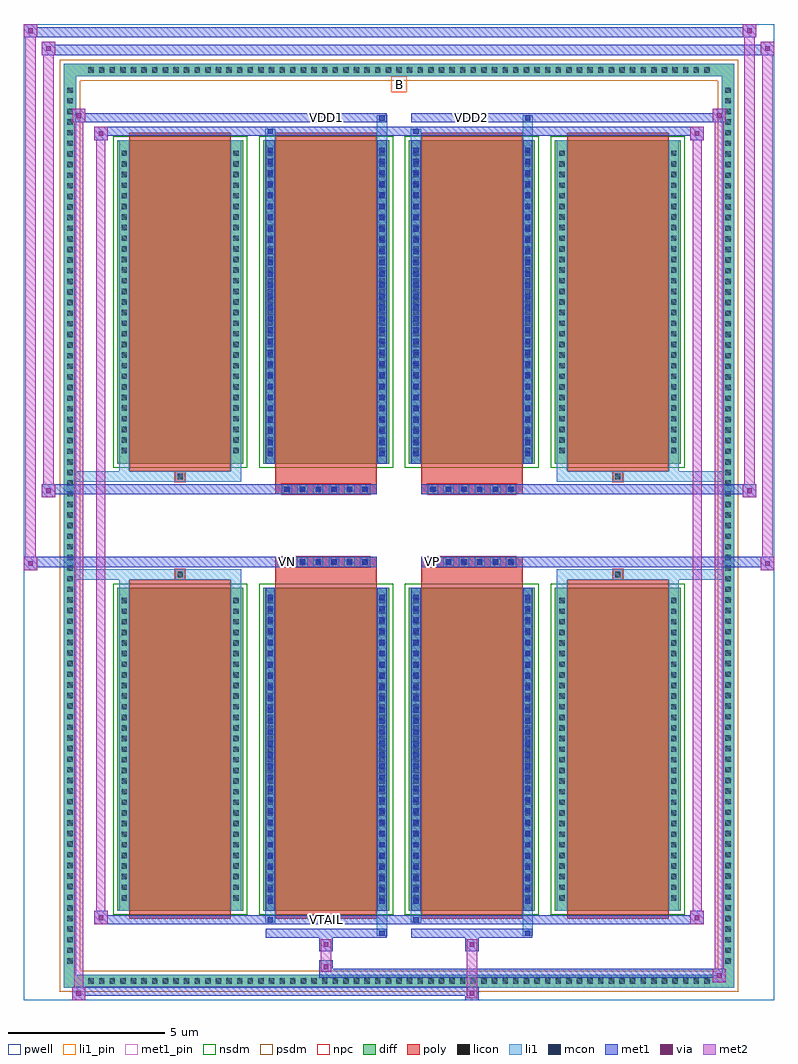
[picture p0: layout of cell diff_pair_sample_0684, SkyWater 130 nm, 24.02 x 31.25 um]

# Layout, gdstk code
import gdstk
lib = gdstk.Library(unit=1e-6, precision=5e-09)
def R(c, l, rs):  # rectangles x0, y0, x1, y1
    for r in rs: c.add(gdstk.rectangle(r[:2], r[2:], *l))
def A(c, l, x, y, w, h, nx, ny, dx, dy):  # array of equal rectangles
    R(c, l, [(x+i*dx, y+j*dy, x+i*dx+w, y+j*dy+h) for i in range(nx) for j in range(ny)])
def P(c, l, *ps):  # polygons
    for p in ps: c.add(gdstk.Polygon(p, *l))
pwell = (64, 44)
diff = (65, 20)
poly = (66, 20)
licon = (66, 44)
li1_pin = (67, 16)
li1 = (67, 20)
mcon = (67, 44)
met1_pin = (68, 16)
met1 = (68, 20)
via = (68, 44)
met2 = (69, 20)
nsdm = (93, 44)
psdm = (94, 20)
npc = (95, 20)

diff_pair_sample_0684 = lib.new_cell('diff_pair_sample_0684')
R(diff_pair_sample_0684, pwell, [(-12.01,-15.19,12.01,16.06), (-9.33,-13.38,-0.01,-0.8), (0.01,-13.38,9.33,-0.8), (-9.33,0.8,-0.01,13.38), (0.01,0.8,9.33,13.38)])
A(diff_pair_sample_0684, diff, -10.065, -14.79, 0.41, 0.41, 59, 2, 0.34, 29.17)
A(diff_pair_sample_0684, diff, -10.74, -14.145, 0.41, 0.41, 1, 83, 0, 0.34)
A(diff_pair_sample_0684, diff, 10.33, -14.145, 0.41, 0.41, 1, 83, 0, 0.34)
A(diff_pair_sample_0684, diff, -9.02, -12.335, 4.03, 10.35, 4, 2, 4.67, 14.32)
R(diff_pair_sample_0684, diff, [(-10.065,-14.79,10.065,-14.38), (-10.74,-14.145,-10.33,14.145), (10.33,-14.145,10.74,14.145), (-10.065,14.38,10.065,14.79)])
P(diff_pair_sample_0684, diff, [(10.74,14.79),(-10.74,14.79),(-10.74,-14.38),(-10.33,-14.38),(-10.33,14.38),(10.33,14.38),(10.33,-14.38),(-10.33,-14.38),(-10.74,-14.38),(-10.74,-14.79),(10.74,-14.79)])
A(diff_pair_sample_0684, poly, -8.63, -12.585, 3.25, 10.85, 4, 2, 4.67, 14.32)
A(diff_pair_sample_0684, poly, -3.75, -1.33, 0.33, 0.33, 6, 2, 0.5, 2.33)
A(diff_pair_sample_0684, poly, 0.92, -1.33, 0.33, 0.33, 6, 2, 0.5, 2.33)
R(diff_pair_sample_0684, poly, [(-7.17,-1.735,-6.84,-1.405), (-7.17,-1.735,-6.84,-1.405), (-3.96,-1.735,-0.71,-1.33), (0.71,-1.735,3.96,-1.33), (6.84,-1.735,7.17,-1.405), (6.84,-1.735,7.17,-1.405), (-3.96,-1.33,-0.71,-1), (0.71,-1.33,3.96,-1), (-3.96,1,-0.71,1.33), (0.71,1,3.96,1.33), (-3.96,1.33,-0.71,1.735), (0.71,1.33,3.96,1.735), (-7.17,1.405,-6.84,1.735), (-7.17,1.405,-6.84,1.735), (6.84,1.405,7.17,1.735), (6.84,1.405,7.17,1.735)])
A(diff_pair_sample_0684, licon, -9.945, -14.67, 0.17, 0.17, 59, 2, 0.34, 29.17)
A(diff_pair_sample_0684, licon, -10.62, -14.025, 0.17, 0.17, 1, 83, 0, 0.34)
A(diff_pair_sample_0684, licon, 10.45, -14.025, 0.17, 0.17, 1, 83, 0, 0.34)
A(diff_pair_sample_0684, licon, -8.88, -12.005, 0.17, 0.17, 1, 29, 0, 0.34)
A(diff_pair_sample_0684, licon, -5.3, -12.005, 0.17, 0.17, 1, 29, 0, 0.34)
A(diff_pair_sample_0684, licon, -4.21, -12.005, 0.17, 0.17, 1, 29, 0, 0.34)
A(diff_pair_sample_0684, licon, -0.63, -12.005, 0.17, 0.17, 1, 29, 0, 0.34)
A(diff_pair_sample_0684, licon, 0.46, -12.005, 0.17, 0.17, 1, 29, 0, 0.34)
A(diff_pair_sample_0684, licon, 4.04, -12.005, 0.17, 0.17, 1, 29, 0, 0.34)
A(diff_pair_sample_0684, licon, 5.13, -12.005, 0.17, 0.17, 1, 29, 0, 0.34)
A(diff_pair_sample_0684, licon, 8.71, -12.005, 0.17, 0.17, 1, 29, 0, 0.34)
A(diff_pair_sample_0684, licon, -3.67, -1.25, 0.17, 0.17, 6, 2, 0.5, 2.33)
A(diff_pair_sample_0684, licon, 1, -1.25, 0.17, 0.17, 6, 2, 0.5, 2.33)
A(diff_pair_sample_0684, licon, -8.88, 2.315, 0.17, 0.17, 1, 29, 0, 0.34)
A(diff_pair_sample_0684, licon, -5.3, 2.315, 0.17, 0.17, 1, 29, 0, 0.34)
A(diff_pair_sample_0684, licon, -4.21, 2.315, 0.17, 0.17, 1, 29, 0, 0.34)
A(diff_pair_sample_0684, licon, -0.63, 2.315, 0.17, 0.17, 1, 29, 0, 0.34)
A(diff_pair_sample_0684, licon, 0.46, 2.315, 0.17, 0.17, 1, 29, 0, 0.34)
A(diff_pair_sample_0684, licon, 4.04, 2.315, 0.17, 0.17, 1, 29, 0, 0.34)
A(diff_pair_sample_0684, licon, 5.13, 2.315, 0.17, 0.17, 1, 29, 0, 0.34)
A(diff_pair_sample_0684, licon, 8.71, 2.315, 0.17, 0.17, 1, 29, 0, 0.34)
R(diff_pair_sample_0684, licon, [(-7.09,-1.655,-6.92,-1.485), (6.92,-1.655,7.09,-1.485), (-7.09,1.485,-6.92,1.655), (6.92,1.485,7.09,1.655)])
R(diff_pair_sample_0684, li1_pin, [(-0.25,13.88,0.25,14.38)])
A(diff_pair_sample_0684, li1, -10.025, -14.75, 0.33, 0.33, 59, 2, 0.34, 29.17)
A(diff_pair_sample_0684, li1, -10.7, -14.105, 0.33, 0.33, 1, 83, 0, 0.34)
A(diff_pair_sample_0684, li1, 10.37, -14.105, 0.33, 0.33, 1, 83, 0, 0.34)
A(diff_pair_sample_0684, li1, -4.21, -12.105, 0.17, 0.17, 1, 28, 0, 0.36)
A(diff_pair_sample_0684, li1, -0.63, -12.105, 0.17, 0.17, 1, 28, 0, 0.36)
A(diff_pair_sample_0684, li1, 0.46, -12.105, 0.17, 0.17, 1, 28, 0, 0.36)
A(diff_pair_sample_0684, li1, 4.04, -12.105, 0.17, 0.17, 1, 28, 0, 0.36)
A(diff_pair_sample_0684, li1, -8.96, -12.085, 0.33, 0.33, 1, 29, 0, 0.34)
A(diff_pair_sample_0684, li1, -5.38, -12.085, 0.33, 0.33, 1, 29, 0, 0.34)
A(diff_pair_sample_0684, li1, -4.29, -12.085, 0.33, 0.33, 1, 29, 0, 0.34)
A(diff_pair_sample_0684, li1, -0.71, -12.085, 0.33, 0.33, 1, 29, 0, 0.34)
A(diff_pair_sample_0684, li1, 0.38, -12.085, 0.33, 0.33, 1, 29, 0, 0.34)
A(diff_pair_sample_0684, li1, 3.96, -12.085, 0.33, 0.33, 1, 29, 0, 0.34)
A(diff_pair_sample_0684, li1, 5.05, -12.085, 0.33, 0.33, 1, 29, 0, 0.34)
A(diff_pair_sample_0684, li1, 8.63, -12.085, 0.33, 0.33, 1, 29, 0, 0.34)
A(diff_pair_sample_0684, li1, -3.75, -1.33, 0.33, 0.33, 6, 2, 0.5, 2.33)
A(diff_pair_sample_0684, li1, 0.92, -1.33, 0.33, 0.33, 6, 2, 0.5, 2.33)
A(diff_pair_sample_0684, li1, -4.21, 2.215, 0.17, 0.17, 1, 28, 0, 0.36)
A(diff_pair_sample_0684, li1, -0.63, 2.215, 0.17, 0.17, 1, 28, 0, 0.36)
A(diff_pair_sample_0684, li1, 0.46, 2.215, 0.17, 0.17, 1, 28, 0, 0.36)
A(diff_pair_sample_0684, li1, 4.04, 2.215, 0.17, 0.17, 1, 28, 0, 0.36)
A(diff_pair_sample_0684, li1, -8.96, 2.235, 0.33, 0.33, 1, 29, 0, 0.34)
A(diff_pair_sample_0684, li1, -5.38, 2.235, 0.33, 0.33, 1, 29, 0, 0.34)
A(diff_pair_sample_0684, li1, -4.29, 2.235, 0.33, 0.33, 1, 29, 0, 0.34)
A(diff_pair_sample_0684, li1, -0.71, 2.235, 0.33, 0.33, 1, 29, 0, 0.34)
A(diff_pair_sample_0684, li1, 0.38, 2.235, 0.33, 0.33, 1, 29, 0, 0.34)
A(diff_pair_sample_0684, li1, 3.96, 2.235, 0.33, 0.33, 1, 29, 0, 0.34)
A(diff_pair_sample_0684, li1, 5.05, 2.235, 0.33, 0.33, 1, 29, 0, 0.34)
A(diff_pair_sample_0684, li1, 8.63, 2.235, 0.33, 0.33, 1, 29, 0, 0.34)
R(diff_pair_sample_0684, li1, [(-10.74,-14.79,-10.33,-14.38), (-10.74,-14.79,-10.33,-14.38), (-10.33,-14.79,10.33,-14.38), (10.33,-14.79,10.74,-14.38), (10.33,-14.79,10.74,-14.38), (-10.74,-14.38,-10.33,14.38), (10.33,-14.38,10.74,14.38), (-0.71,-13.14,-0.38,-12.335), (-0.63,-13.14,-0.46,-12.97), (3.96,-13.14,4.29,-12.335), (4.04,-13.14,4.21,-12.97), (-4.29,-12.71,-3.96,-12.335), (-4.21,-12.71,-4.04,-12.54), (0.38,-12.71,0.71,-12.335), (0.46,-12.71,0.63,-12.54), (-8.96,-12.335,-8.63,-1.985), (-5.38,-12.335,-5.05,-1.985), (-4.29,-12.335,-3.96,-1.985), (-0.71,-12.335,-0.38,-1.985), (0.38,-12.335,0.71,-1.985), (3.96,-12.335,4.29,-1.985), (5.05,-12.335,5.38,-1.985), (8.63,-12.335,8.96,-1.985), (-4.21,-12.105,-4.04,-2.215), (-0.63,-12.105,-0.46,-2.215), (0.46,-12.105,0.63,-2.215), (4.04,-12.105,4.21,-2.215), (-8.96,-1.985,-8.63,-1.405), (-5.38,-1.985,-5.05,-1.405), (5.05,-1.985,5.38,-1.405), (8.63,-1.985,8.96,-1.405), (-10.74,-1.735,-7.17,-1.405), (-8.96,-1.735,-7.17,-1.405), (-7.17,-1.735,-6.84,-1.405), (-6.84,-1.735,-5.05,-1.405), (5.05,-1.735,6.84,-1.405), (6.84,-1.735,7.17,-1.405), (6.84,-1.735,10.74,-1.405), (7.17,-1.735,8.96,-1.405), (-10.74,1.405,-7.17,1.735), (-8.96,1.405,-7.17,1.735), (-8.96,1.405,-8.63,1.985), (-7.17,1.405,-6.84,1.735), (-6.84,1.405,-5.05,1.735), (-5.38,1.405,-5.05,1.985), (5.05,1.405,6.84,1.735), (5.05,1.405,5.38,1.985), (6.84,1.405,7.17,1.735), (6.84,1.405,10.74,1.735), (7.17,1.405,8.96,1.735), (8.63,1.405,8.96,1.985), (-8.96,1.985,-8.63,12.335), (-5.38,1.985,-5.05,12.335), (-4.29,1.985,-3.96,12.335), (-0.71,1.985,-0.38,12.335), (0.38,1.985,0.71,12.335), (3.96,1.985,4.29,12.335), (5.05,1.985,5.38,12.335), (8.63,1.985,8.96,12.335), (-4.21,2.215,-4.04,12.105), (-0.63,2.215,-0.46,12.105), (0.46,2.215,0.63,12.105), (4.04,2.215,4.21,12.105), (-4.29,12.335,-3.96,12.71), (-0.71,12.335,-0.38,13.14), (0.38,12.335,0.71,12.71), (3.96,12.335,4.29,13.14), (-4.21,12.54,-4.04,12.71), (0.46,12.54,0.63,12.71), (-0.63,12.97,-0.46,13.14), (4.04,12.97,4.21,13.14), (-10.74,14.38,-10.33,14.79), (-10.74,14.38,-10.33,14.79), (-10.33,14.38,10.33,14.79), (10.33,14.38,10.74,14.79), (10.33,14.38,10.74,14.79)])
A(diff_pair_sample_0684, mcon, -4.21, -12.105, 0.17, 0.17, 1, 28, 0, 0.36)
A(diff_pair_sample_0684, mcon, -0.63, -12.105, 0.17, 0.17, 1, 28, 0, 0.36)
A(diff_pair_sample_0684, mcon, 0.46, -12.105, 0.17, 0.17, 1, 28, 0, 0.36)
A(diff_pair_sample_0684, mcon, 4.04, -12.105, 0.17, 0.17, 1, 28, 0, 0.36)
A(diff_pair_sample_0684, mcon, -3.67, -1.25, 0.17, 0.17, 6, 2, 0.5, 2.33)
A(diff_pair_sample_0684, mcon, 1, -1.25, 0.17, 0.17, 6, 2, 0.5, 2.33)
A(diff_pair_sample_0684, mcon, -4.21, 2.215, 0.17, 0.17, 1, 28, 0, 0.36)
A(diff_pair_sample_0684, mcon, -0.63, 2.215, 0.17, 0.17, 1, 28, 0, 0.36)
A(diff_pair_sample_0684, mcon, 0.46, 2.215, 0.17, 0.17, 1, 28, 0, 0.36)
A(diff_pair_sample_0684, mcon, 4.04, 2.215, 0.17, 0.17, 1, 28, 0, 0.36)
R(diff_pair_sample_0684, mcon, [(-0.63,-13.14,-0.46,-12.97), (4.04,-13.14,4.21,-12.97), (-4.21,-12.71,-4.04,-12.54), (0.46,-12.71,0.63,-12.54), (-4.21,12.54,-4.04,12.71), (0.46,12.54,0.63,12.71), (-0.63,12.97,-0.46,13.14), (4.04,12.97,4.21,13.14)])
R(diff_pair_sample_0684, met1_pin, [(-2.47,-12.75,-2.2,-12.48), (-3.72,-1.29,-3.45,-1.02), (0.95,-1.29,1.22,-1.02), (-2.47,12.93,-2.2,13.2), (2.2,12.93,2.47,13.2)])
A(diff_pair_sample_0684, met1, -4.27, -12.165, 0.29, 0.29, 1, 28, 0, 0.36)
A(diff_pair_sample_0684, met1, -0.69, -12.165, 0.29, 0.29, 1, 28, 0, 0.36)
A(diff_pair_sample_0684, met1, 0.4, -12.165, 0.29, 0.29, 1, 28, 0, 0.36)
A(diff_pair_sample_0684, met1, 3.98, -12.165, 0.29, 0.29, 1, 28, 0, 0.36)
A(diff_pair_sample_0684, met1, -3.73, -1.31, 0.29, 0.29, 6, 2, 0.5, 2.33)
A(diff_pair_sample_0684, met1, 0.94, -1.31, 0.29, 0.29, 6, 2, 0.5, 2.33)
A(diff_pair_sample_0684, met1, -4.27, 2.155, 0.29, 0.29, 1, 28, 0, 0.36)
A(diff_pair_sample_0684, met1, -0.69, 2.155, 0.29, 0.29, 1, 28, 0, 0.36)
A(diff_pair_sample_0684, met1, 0.4, 2.155, 0.29, 0.29, 1, 28, 0, 0.36)
A(diff_pair_sample_0684, met1, 3.98, 2.155, 0.29, 0.29, 1, 28, 0, 0.36)
R(diff_pair_sample_0684, met1, [(-10.47,-15.19,-10.04,-14.76), (2.12,-15.19,2.55,-14.76), (-10.47,-15.05,2.55,-14.76), (10.04,-14.62,10.47,-14.19), (-2.55,-14.48,10.47,-14.19), (-2.55,-14.34,-2.12,-13.91), (-2.55,-13.63,-2.12,-13.2), (2.12,-13.63,2.55,-13.2), (-4.27,-13.2,-0.4,-12.91), (-0.69,-13.2,-0.4,-12.91), (0.4,-13.2,4.27,-12.91), (3.98,-13.2,4.27,-12.91), (-9.76,-12.77,-9.33,-12.34), (-9.76,-12.77,-4.27,-12.48), (-4.27,-12.77,-3.98,-12.48), (-4.27,-12.77,-0.4,-12.48), (-0.4,-12.77,0.4,-12.48), (0.4,-12.77,0.69,-12.48), (0.4,-12.77,4.27,-12.48), (4.27,-12.77,9.76,-12.48), (9.33,-12.77,9.76,-12.34), (-4.27,-12.335,-3.98,-1.985), (-0.69,-12.335,-0.4,-1.985), (0.4,-12.335,0.69,-1.985), (3.98,-12.335,4.27,-1.985), (-12.01,-1.43,-11.58,-1), (11.58,-1.43,12.01,-1), (-12.01,-1.33,-0.71,-1), (-3.96,-1.33,-0.71,-1), (0.71,-1.33,3.96,-1), (0.71,-1.33,12.01,-1), (-11.44,0.9,-11.01,1.33), (11.01,0.9,11.44,1.33), (-11.44,1,-3.96,1.33), (-3.96,1,-0.71,1.33), (0.71,1,3.96,1.33), (3.96,1,11.44,1.33), (-4.27,1.985,-3.98,12.335), (-0.69,1.985,-0.4,12.335), (0.4,1.985,0.69,12.335), (3.98,1.985,4.27,12.335), (-9.76,12.34,-9.33,12.77), (9.33,12.34,9.76,12.77), (-9.76,12.48,-4.27,12.77), (-4.27,12.48,-3.98,12.77), (-4.27,12.48,-0.4,12.77), (-0.4,12.48,0.4,12.77), (0.4,12.48,0.69,12.77), (0.4,12.48,4.27,12.77), (4.27,12.48,9.76,12.77), (-10.47,12.91,-10.04,13.34), (-10.47,12.91,-4.27,13.2), (-4.27,12.91,-0.4,13.2), (-0.69,12.91,-0.4,13.2), (0.4,12.91,4.27,13.2), (3.98,12.91,4.27,13.2), (4.27,12.91,10.47,13.2), (10.04,12.91,10.47,13.34), (-11.44,15.06,-11.01,15.49), (-11.44,15.06,-9.33,15.39), (-9.33,15.06,9.33,15.39), (9.33,15.06,12.01,15.39), (11.58,15.06,12.01,15.49), (-12.01,15.63,-11.58,16.06), (-12.01,15.63,-9.33,15.96), (-9.33,15.63,9.33,15.96), (9.33,15.63,11.44,15.96), (11.01,15.63,11.44,16.06)])
R(diff_pair_sample_0684, via, [(-10.33,-15.05,-10.18,-14.9), (2.26,-15.05,2.41,-14.9), (10.18,-14.48,10.33,-14.33), (-2.41,-14.2,-2.26,-14.05), (-2.41,-13.49,-2.26,-13.34), (2.26,-13.49,2.41,-13.34), (-9.62,-12.63,-9.47,-12.48), (9.47,-12.63,9.62,-12.48), (-11.87,-1.29,-11.72,-1.14), (11.72,-1.29,11.87,-1.14), (-11.3,1.04,-11.15,1.19), (11.15,1.04,11.3,1.19), (-9.62,12.48,-9.47,12.63), (9.47,12.48,9.62,12.63), (-10.33,13.05,-10.18,13.2), (10.18,13.05,10.33,13.2), (-11.3,15.2,-11.15,15.35), (11.72,15.2,11.87,15.35), (-11.87,15.77,-11.72,15.92), (11.15,15.77,11.3,15.92)])
R(diff_pair_sample_0684, met2, [(-10.47,-15.19,-10.04,-14.76), (-10.4,-15.19,-10.11,13.34), (-10.11,-15.19,-10.04,-14.76), (-10.42,-15.14,-10.09,-14.81), (2.17,-15.14,2.5,-14.81), (2.17,-14.81,2.5,-13.58), (10.04,-14.62,10.47,-14.19), (10.11,-14.62,10.4,13.34), (10.4,-14.62,10.47,-14.19), (10.09,-14.57,10.42,-14.24), (-2.5,-14.29,-2.17,-13.96), (-2.5,-13.96,-2.17,-13.58), (-2.5,-13.58,-2.17,-13.25), (2.17,-13.58,2.5,-13.25), (-9.76,-12.77,-9.33,-12.34), (-9.69,-12.77,-9.4,12.77), (-9.4,-12.77,-9.33,-12.34), (9.33,-12.77,9.76,-12.34), (9.4,-12.77,9.69,12.77), (9.69,-12.77,9.76,-12.34), (-9.71,-12.72,-9.38,-12.39), (9.38,-12.72,9.71,-12.39), (-12.01,-1.43,-11.58,-1), (-11.96,-1.43,-11.63,16.06), (-11.63,-1.43,-11.58,-1), (11.58,-1.43,12.01,-1), (11.63,-1.43,11.96,15.49), (11.96,-1.43,12.01,-1), (-11.96,-1.38,-11.63,-1.05), (11.63,-1.38,11.96,-1.05), (-11.44,0.9,-11.01,1.33), (-11.39,0.9,-11.06,15.49), (-11.06,0.9,-11.01,1.33), (11.01,0.9,11.44,1.33), (11.06,0.9,11.39,16.06), (11.39,0.9,11.44,1.33), (-11.39,0.95,-11.06,1.28), (11.06,0.95,11.39,1.28), (-9.76,12.34,-9.33,12.77), (-9.4,12.34,-9.33,12.77), (9.33,12.34,9.76,12.77), (9.69,12.34,9.76,12.77), (-9.71,12.39,-9.38,12.72), (9.38,12.39,9.71,12.72), (-10.47,12.91,-10.04,13.34), (-10.11,12.91,-10.04,13.34), (10.04,12.91,10.47,13.34), (10.4,12.91,10.47,13.34), (-10.42,12.96,-10.09,13.29), (10.09,12.96,10.42,13.29), (-11.44,15.06,-11.01,15.49), (-11.06,15.06,-11.01,15.49), (11.58,15.06,12.01,15.49), (11.96,15.06,12.01,15.49), (-11.39,15.11,-11.06,15.44), (11.63,15.11,11.96,15.44), (-12.01,15.63,-11.58,16.06), (-11.63,15.63,-11.58,16.06), (11.01,15.63,11.44,16.06), (11.39,15.63,11.44,16.06), (-11.96,15.68,-11.63,16.01), (11.06,15.68,11.39,16.01)])
A(diff_pair_sample_0684, nsdm, -9.15, -12.465, 4.29, 10.61, 4, 2, 4.67, 14.32)
P(diff_pair_sample_0684, psdm, [(10.87,14.92),(-10.87,14.92),(-10.87,-14.25),(-10.2,-14.25),(-10.2,14.25),(10.2,14.25),(10.2,-14.25),(-10.2,-14.25),(-10.87,-14.25),(-10.87,-14.92),(10.87,-14.92)])
A(diff_pair_sample_0684, npc, -3.77, -1.35, 0.37, 0.37, 6, 2, 0.5, 2.33)
A(diff_pair_sample_0684, npc, 0.9, -1.35, 0.37, 0.37, 6, 2, 0.5, 2.33)
R(diff_pair_sample_0684, npc, [(-7.19,-1.755,-6.82,-1.385), (6.82,-1.755,7.19,-1.385), (-3.77,-1.35,-2.9,-0.98), (-3.77,-1.35,-2.9,-0.98), (-3.27,-1.35,-2.4,-0.98), (-3.27,-1.35,-2.4,-0.98), (-2.77,-1.35,-1.9,-0.98), (-2.77,-1.35,-1.9,-0.98), (-2.27,-1.35,-1.4,-0.98), (-2.27,-1.35,-1.4,-0.98), (-1.77,-1.35,-0.9,-0.98), (-1.77,-1.35,-0.9,-0.98), (0.9,-1.35,1.77,-0.98), (0.9,-1.35,1.77,-0.98), (1.4,-1.35,2.27,-0.98), (1.4,-1.35,2.27,-0.98), (1.9,-1.35,2.77,-0.98), (1.9,-1.35,2.77,-0.98), (2.4,-1.35,3.27,-0.98), (2.4,-1.35,3.27,-0.98), (2.9,-1.35,3.77,-0.98), (2.9,-1.35,3.77,-0.98), (-3.77,0.98,-2.9,1.35), (-3.77,0.98,-2.9,1.35), (-3.27,0.98,-2.4,1.35), (-3.27,0.98,-2.4,1.35), (-2.77,0.98,-1.9,1.35), (-2.77,0.98,-1.9,1.35), (-2.27,0.98,-1.4,1.35), (-2.27,0.98,-1.4,1.35), (-1.77,0.98,-0.9,1.35), (-1.77,0.98,-0.9,1.35), (0.9,0.98,1.77,1.35), (0.9,0.98,1.77,1.35), (1.4,0.98,2.27,1.35), (1.4,0.98,2.27,1.35), (1.9,0.98,2.77,1.35), (1.9,0.98,2.77,1.35), (2.4,0.98,3.27,1.35), (2.4,0.98,3.27,1.35), (2.9,0.98,3.77,1.35), (2.9,0.98,3.77,1.35), (-7.19,1.385,-6.82,1.755), (6.82,1.385,7.19,1.755)])
diff_pair_sample_0684.add(gdstk.Label('VTAIL', (-2.335,-12.615), layer=68, texttype=5))
diff_pair_sample_0684.add(gdstk.Label('VN', (-3.585,-1.155), layer=68, texttype=5))
diff_pair_sample_0684.add(gdstk.Label('VP', (1.085,-1.155), layer=68, texttype=5))
diff_pair_sample_0684.add(gdstk.Label('B', (0,14.13), layer=67, texttype=5))
diff_pair_sample_0684.add(gdstk.Label('VDD2', (2.335,13.065), layer=68, texttype=5))
diff_pair_sample_0684.add(gdstk.Label('VDD1', (-2.335,13.065), layer=68, texttype=5))

lib.write_gds('diff_pair_sample_0684.gds')
